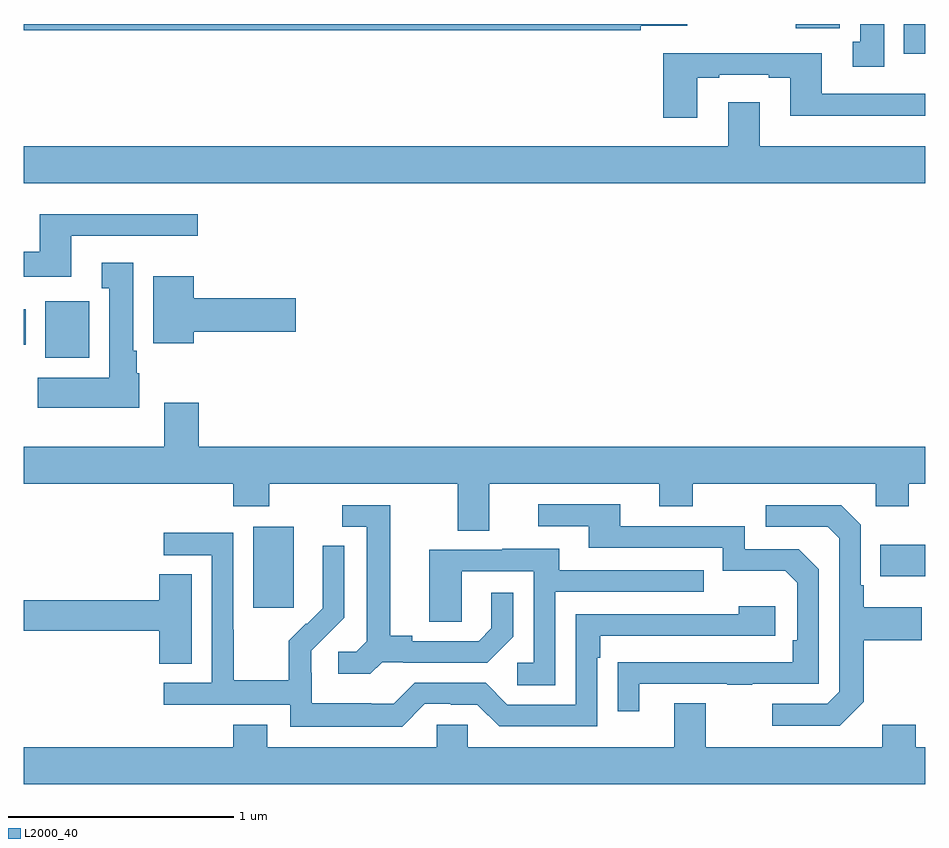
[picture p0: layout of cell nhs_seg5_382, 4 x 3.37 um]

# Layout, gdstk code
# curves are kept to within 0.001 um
import gdstk
lib = gdstk.Library(unit=1e-6, precision=1e-09)
def R(c, l, rs):  # rectangles x0, y0, x1, y1
    for r in rs: c.add(gdstk.rectangle(r[:2], r[2:], *l))
def P(c, l, *ps):  # polygons
    for p in ps: c.add(gdstk.Polygon(p, *l))
L2000_40 = (2000, 40)

nhs_seg5_382 = lib.new_cell('nhs_seg5_382')
R(nhs_seg5_382, L2000_40, [(136.019,856.209,136.198,856.57), (138.799,856.349,139,856.489), (135.095,857.318,135.291,857.569), (135,857.377,135.01,857.533), (138.905,858.668,139,858.799), (138.425,858.78,138.621,858.799)])
P(nhs_seg5_382, L2000_40, [(138.817,858.799),(138.71,858.799),(138.71,858.721),(138.677,858.721),(138.677,858.609),(138.817,858.609)],
  [(137.738,858.792),(137.944,858.792),(137.944,858.799),(135,858.799),(135,858.772),(137.738,858.772)],
  [(137.989,858.561),(138.085,858.561),(138.085,858.573),(138.305,858.573),(138.305,858.561),(138.401,858.561),(138.401,858.392),(139,858.392),(139,858.489),(138.541,858.489),(138.541,858.67),(137.837,858.67),(137.837,858.384),(137.989,858.384)],
  [(139,858.256),(138.265,858.256),(138.265,858.451),(138.125,858.451),(138.125,858.256),(135,858.256),(135,858.092),(139,858.092)],
  [(135.211,857.859),(135.772,857.859),(135.772,857.956),(135.071,857.956),(135.071,857.788),(135,857.788),(135,857.678),(135.211,857.678)],
  [(135.514,857.25),(135.502,857.25),(135.502,857.35),(135.487,857.35),(135.487,857.74),(135.347,857.74),(135.347,857.627),(135.38,857.627),(135.38,857.23),(135.063,857.23),(135.063,857.096),(135.514,857.096)],
  [(135.754,857.435),(136.207,857.435),(136.207,857.582),(135.754,857.582),(135.754,857.68),(135.575,857.68),(135.575,857.384),(135.754,857.384)],
  [(137.065,856.76),(137.819,856.76),(137.819,856.661),(137.967,856.661),(137.967,856.76),(138.78,856.76),(138.78,856.661),(138.927,856.661),(138.927,856.76),(139,856.76),(139,856.924),(135.776,856.924),(135.776,857.119),(135.623,857.119),(135.623,856.924),(135,856.924),(135,856.76),(135.929,856.76),(135.929,856.661),(136.089,856.661),(136.089,856.76),(136.925,856.76),(136.925,856.552),(137.065,856.552)],
  [(137.731,855.873),(138.121,855.873),(138.121,855.868),(138.233,855.868),(138.233,855.873),(138.528,855.873),(138.528,856.38),(138.438,856.47),(138.198,856.47),(138.198,856.572),(137.647,856.572),(137.647,856.668),(137.283,856.668),(137.283,856.572),(137.507,856.572),(137.507,856.476),(138.102,856.476),(138.102,856.373),(138.379,856.373),(138.432,856.32),(138.432,856.066),(138.412,856.066),(138.412,855.969),(137.635,855.968),(137.635,855.75),(137.731,855.75)],
  [(136.59,855.969),(136.684,855.969),(136.684,855.966),(137.056,855.966),(137.172,856.082),(137.172,856.276),(137.075,856.276),(137.075,856.119),(137.018,856.062),(136.723,856.062),(136.723,856.085),(136.627,856.085),(136.627,856.665),(136.413,856.665),(136.413,856.569),(136.523,856.569),(136.523,856.061),(136.476,856.014),(136.395,856.014),(136.395,855.917),(136.538,855.917)],
  [(138.727,855.793),(138.727,856.066),(138.983,856.066),(138.983,856.213),(138.727,856.213),(138.727,856.309),(138.714,856.309),(138.714,856.578),(138.627,856.665),(138.291,856.665),(138.291,856.569),(138.567,856.569),(138.618,856.518),(138.618,855.837),(138.564,855.783),(138.321,855.783),(138.321,855.687),(138.621,855.687)],
  [(136.779,855.783),(136.895,855.783),(136.895,855.78),(137.013,855.78),(137.109,855.684),(137.544,855.684),(137.544,855.989),(137.557,855.989),(137.557,856.086),(138.334,856.086),(138.334,856.216),(138.173,856.216),(138.173,856.182),(137.448,856.182),(137.448,855.78),(137.145,855.78),(137.049,855.876),(136.734,855.876),(136.641,855.783),(136.541,855.783),(136.541,855.787),(136.278,855.787),(136.278,855.921),(136.276,855.921),(136.276,856.018),(136.422,856.166),(136.422,856.484),(136.326,856.484),(136.326,856.33),(136.328,856.33),(136.328,856.208),(136.257,856.137),(136.254,856.14),(136.177,856.063),(136.177,855.889),(135.933,855.889),(135.933,856.112),(135.93,856.112),(135.93,856.542),(135.621,856.542),(135.621,856.443),(135.834,856.443),(135.834,855.876),(135.621,855.876),(135.621,855.78),(136.182,855.78),(136.182,855.683),(136.679,855.683)],
  [(137.358,856.281),(138.017,856.281),(138.017,856.377),(137.377,856.377),(137.377,856.471),(137.123,856.471),(137.123,856.467),(136.799,856.467),(136.799,856.147),(136.944,856.147),(136.944,856.371),(137.262,856.371),(137.262,855.966),(137.19,855.966),(137.19,855.865),(137.358,855.865)],
  [(135.745,856.358),(135.602,856.358),(135.602,856.244),(135,856.244),(135,856.108),(135.602,856.108),(135.602,855.961),(135.745,855.961)],
  [(139,855.592),(138.957,855.592),(138.957,855.691),(138.809,855.691),(138.809,855.592),(138.025,855.592),(138.025,855.787),(137.885,855.787),(137.885,855.592),(136.971,855.592),(136.971,855.69),(136.833,855.69),(136.833,855.592),(136.081,855.592),(136.081,855.691),(135.929,855.691),(135.929,855.592),(135,855.592),(135,855.428),(139,855.428)])

lib.write_gds('nhs_seg5_382.gds')
